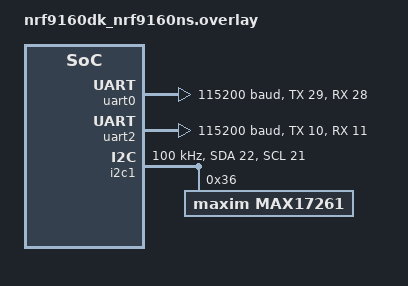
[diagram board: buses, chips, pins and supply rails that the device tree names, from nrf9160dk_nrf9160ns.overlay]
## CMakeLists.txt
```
#
# Copyright (c) 2019 Nordic Semiconductor
#
# SPDX-License-Identifier: LicenseRef-Nordic-5-Clause
#

cmake_minimum_required(VERSION 3.20.0)

find_package(Zephyr REQUIRED HINTS $ENV{ZEPHYR_BASE})
project(serial_lte_modem)

# NORDIC SDK APP START
target_sources(app PRIVATE src/main.c)
target_sources(app PRIVATE src/slm_util.c)
target_sources(app PRIVATE src/slm_settings.c)
target_sources(app PRIVATE src/slm_at_host.c)
target_sources(app PRIVATE src/slm_at_commands.c)
target_sources(app PRIVATE src/slm_at_socket.c)
target_sources(app PRIVATE src/slm_at_tcp_proxy.c)
target_sources(app PRIVATE src/slm_at_udp_proxy.c)
target_sources(app PRIVATE src/slm_at_icmp.c)
target_sources(app PRIVATE src/slm_at_fota.c)
# NORDIC SDK APP END
target_sources_ifdef(CONFIG_SLM_SMS app PRIVATE src/slm_at_sms.c)
target_sources_ifdef(CONFIG_SLM_NATIVE_TLS app PRIVATE src/slm_native_tls.c)
target_sources_ifdef(CONFIG_SLM_NATIVE_TLS app PRIVATE src/slm_at_cmng.c)
target_sources_ifdef(CONFIG_SLM_NATIVE_TLS_PS app PRIVATE src/slm_native_tls_ps.c)
target_sources_ifdef(CONFIG_SLM_NATIVE_TLS_PSA app PRIVATE src/slm_native_tls_ps.c)

add_subdirectory_ifdef(CONFIG_SLM_GNSS src/gnss)
add_subdirectory_ifdef(CONFIG_SLM_FTPC src/ftp_c)
add_subdirectory_ifdef(CONFIG_SLM_MQTTC src/mqtt_c)
add_subdirectory_ifdef(CONFIG_SLM_HTTPC src/http_c)
add_subdirectory_ifdef(CONFIG_SLM_TWI src/twi)
add_subdirectory_ifdef(CONFIG_SLM_GPIO src/gpio)
add_subdirectory_ifdef(CONFIG_SLM_NRF52_DFU src/dfu)
target_include_directories(app PRIVATE
  $<TARGET_PROPERTY:tfm,TFM_BINARY_DIR>/install/interface/include
)

zephyr_include_directories(src)
#set_property(TARGET zephyr_property_target
#             APPEND PROPERTY TFM_CMAKE_OPTIONS
#            -DPLATFORM_DEFAULT_ATTEST_HAL=OFF
#            -DPLATFORM_DEFAULT_CRYPTO_KEYS=OFF
#            -DPLATFORM_DEFAULT_ROTPK=OFF
#            -DPLATFORM_DEFAULT_IAK=OFF
#            -DPLATFORM_DEFAULT_NV_SEED=OFF
#            -DPLATFORM_DEFAULT_OTP=OFF
#            -DPLATFORM_DEFAULT_OTP_WRITEABLE=OFF
#            -DPLATFORM_DEFAULT_PROVISIONING=OFF
#            -DTFM_DUMMY_PROVISIONING=OFF
#            -DCRYPTO_NV_SEED=OFF
#            -DPLATFORM_NV_COUNTER_MODULE_DISABLED=TRUE
#            -DPLATFORM_DEFAULT_NV_COUNTERS=OFF
#)

#if (CONFIG_SLM_NATIVE_TLS_PSA)
#      add_overlay_config(
#        app
#        ${NRF_DIR}/samples/spm/spm_ns_handler_from_spm_fault.conf
#        )
#
#      add_overlay_dts(
#        mcuboot
#        ${NRF_DIR}/samples/spm/spm_uart.overlay
#      )
# endif()
```

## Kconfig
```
#
# Copyright (c) 2019 Nordic Semiconductor
#
# SPDX-License-Identifier: LicenseRef-Nordic-5-Clause
#

source "Kconfig.zephyr"

menu "Nordic Serial LTE Modem"

config SLM_CUSTOMIZED
	bool "Flag for customized functionality"
	help
	  Enable this flag to include customized logic.

config SLM_AT_MODE
	bool "Serial LTE Modem by raw AT mode"
	default y
	select AT_CMD_PARSER

config SLM_AT_MAX_PARAM
	int "Maximum number of parameters in AT command"
	default 42

config SLM_NATIVE_TLS
	bool "Use Zephyr mbedTLS"
if SLM_NATIVE_TLS

choice
	prompt "Credential storage backend"
	default SLM_NATIVE_TLS_PS if TFM_PARTITION_PROTECTED_STORAGE
	default SLM_NATIVE_TLS_MODEM
	help
		Select which mechanism is used to store credentials
	config SLM_NATIVE_TLS_MODEM
		bool "Modem storage"
		select MODEM_KEY_MGMT
		help
		  Credentials will be stored in the nRF9160 modem's storage.
		  Security tag value will be offset and CA certificate slots are
		  used. For details, see the slm_tls_map_sectag function.
	config SLM_NATIVE_TLS_PS
		bool "Protected Storage (TF-M)"
		depends on TFM_PARTITION_PROTECTED_STORAGE
		help
		  Credentials will be stored using the PSA Protected Storage
		  API. This requires that the application be built with TF-M.
	config SLM_NATIVE_TLS_PSA
		bool "Key Management (TF-M)"
		help
		  Credentials will be stored using the PSA Key management
		  API. This requires that the application be built with TF-M.
endchoice

if SLM_NATIVE_TLS_PS
config SLM_NATIVE_TLS_PS_WRITE_ONCE
	bool "Write-once credentials"
	default y
	help
		Credentials are written with the "write-once" attribute, meaning
		that they cannot be modified, replaced or deleted by firmware.
endif

endif # SLM_NATIVE_TLS

#
# external XTAL for UART
#
config SLM_EXTERNAL_XTAL
	bool "Use external XTAL for UARTE"
	default y

#
# Inter-Connect
#
config SLM_UART_HWFC_RUNTIME
	bool "Support of UART HWFC runtime configuration"
	help
		Selected if hw-flow-control is enabled in devicetree
choice
	prompt "UART for interconnect"
	help
		Selects which UART to use for interconnect:
		-  UART 0
		-  UART 2
	config SLM_CONNECT_UART_0
		bool "UART 0"
		select SLM_UART_HWFC_RUNTIME if $(dt_nodelabel_bool_prop,uart0,hw-flow-control)

	config SLM_CONNECT_UART_2
		bool "UART 2"
		select SLM_UART_HWFC_RUNTIME if $(dt_nodelabel_bool_prop,uart2,hw-flow-control)
endchoice

choice
	prompt "Termination mode"
	default SLM_CR_LF_TERMINATION
	help
		Sets the command terminator used by the serial terminal.
		Available options are:
		-  CR termination
		-  LF termination
		-  CR+LF termination
	config SLM_CR_TERMINATION
		bool "CR termination"
	config SLM_LF_TERMINATION
		bool "LF termination"
	config SLM_CR_LF_TERMINATION
		bool "CR+LF termination"
endchoice

#
# GPIO wakeup
#
config SLM_START_SLEEP
	bool "Enter sleep on startup"
	help
	  Put nRF9160 into deep sleep mode after startup.

config SLM_WAKEUP_PIN
	int "Wakeup pin"
	default -1
	help
	  Interface GPIO to wake up from sleep or exit idle

config SLM_INDICATE_PIN
	int "Indicate pin"
	default -1
	help
	  Interface GPIO pin used to indicate that data is available or an unexpected reset has occurred

config SLM_INDICATE_TIME
	int "Indication period"
	default 100
	help
	  GPIO active indication time in milliseconds. This setting specify the period length for the pin to be active

#
# Socket
#
config SLM_SOCKET_RX_MAX
	int "Maximum RX buffer size for receiving socket data"
	range 576 708
	default 576
	help
	  Default: NET_IPV4_MTU (576)
	  Maximum: MSS setting in modem (708)

#
# TCP/TLS proxy
#
config SLM_TCP_POLL_TIME
	int "Poll time-out in seconds for TCP connection"
	default 10

config SLM_UDP_POLL_TIME
	int "Poll time-out in seconds for UDP connection"
	default 10

#
# Data mode
#
config SLM_DATAMODE_TERMINATOR
	string "Pattern string to terminate data mode"
	default "+++"
	help
	  Use a pattern to terminate data mode

#
# Configurable services
#
config SLM_SMS
	bool "SMS support in SLM"
	default y
	select SMS
	help
	  Support SMS send/receive in plain text

rsource "src/gnss/Kconfig"
rsource "src/ftp_c/Kconfig"
rsource "src/mqtt_c/Kconfig"
rsource "src/http_c/Kconfig"
rsource "src/twi/Kconfig"
rsource "src/gpio/Kconfig"
rsource "src/dfu/Kconfig"

module = SLM
module-str = serial modem
source "${ZEPHYR_BASE}/subsys/logging/Kconfig.template.log_config"

endmenu
```

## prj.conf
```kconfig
#
# Copyright (c) 2020 Nordic Semiconductor ASA
#
# SPDX-License-Identifier: LicenseRef-Nordic-5-Clause
#
# General config
CONFIG_LOG=y
CONFIG_LOG_DEFAULT_LEVEL=3
CONFIG_STACK_SENTINEL=y
CONFIG_NEWLIB_LIBC=y
CONFIG_NEWLIB_LIBC_FLOAT_PRINTF=y
CONFIG_RING_BUFFER=y
CONFIG_FPU=y

# Segger RTT
CONFIG_USE_SEGGER_RTT=y
CONFIG_RTT_CONSOLE=y
CONFIG_UART_CONSOLE=n
CONFIG_LOG_BACKEND_RTT=y
CONFIG_LOG_BACKEND_UART=n

# Network
CONFIG_NETWORKING=y
CONFIG_NET_SOCKETS=y
CONFIG_NET_NATIVE=n

# Modem library
CONFIG_NRF_MODEM_LIB=y
CONFIG_NRF_MODEM_LIB_SYS_INIT=n
CONFIG_AT_CMD_SYS_INIT=n
CONFIG_AT_NOTIF_SYS_INIT=n
# Align the max FD entry to NRF_MODEM_MAX_SOCKET_COUNT(8)
CONFIG_POSIX_MAX_FDS=8
# Enable below for modem trace
#CONFIG_NRF_MODEM_LIB_TRACE_ENABLED=y

# UART interface
CONFIG_SERIAL=y
CONFIG_UART_ASYNC_API=y
CONFIG_NRFX_TIMER2=y

# Stacks and heaps
CONFIG_MAIN_STACK_SIZE=4096
CONFIG_HEAP_MEM_POOL_SIZE=16384
CONFIG_SYSTEM_WORKQUEUE_STACK_SIZE=4096

# AT_CMD
# Enable AT_CMD debug for details
#CONFIG_AT_CMD_LOG_LEVEL_DBG=y

# Device power management
CONFIG_PM_DEVICE=y

# Enable SUPL client support
#CONFIG_SUPL_CLIENT_LIB=y

# FOTA
CONFIG_HTTP_PARSER_URL=y
CONFIG_FOTA_DOWNLOAD=y
CONFIG_FOTA_DOWNLOAD_PROGRESS_EVT=y
CONFIG_DFU_TARGET=y
CONFIG_DOWNLOAD_CLIENT=y
CONFIG_DOWNLOAD_CLIENT_STACK_SIZE=4096
CONFIG_IMG_MANAGER=y
CONFIG_IMG_ERASE_PROGRESSIVELY=y

# Serial DFU
CONFIG_MCUMGR=y
CONFIG_MCUMGR_SMP_UART=y
CONFIG_UART_MCUMGR_RX_BUF_SIZE=512
CONFIG_MCUMGR_BUF_SIZE=512
## Required by the `taskstat` command.
CONFIG_THREAD_MONITOR=y
CONFIG_STATS=y
CONFIG_STATS_NAMES=y
CONFIG_MGMT_FMFU=y
CONFIG_MCUMGR_CMD_OS_MGMT=y
CONFIG_MCUMGR_CMD_STAT_MGMT=y
CONFIG_MCUMGR_CMD_IMG_MGMT=y

# FLASH
CONFIG_FLASH=y
CONFIG_FLASH_PAGE_LAYOUT=y
CONFIG_FLASH_MAP=y

#
# SLM-specific configurations
#
CONFIG_SLM_CUSTOMIZED=y
CONFIG_SLM_LOG_LEVEL_INF=y
CONFIG_SLM_EXTERNAL_XTAL=n
CONFIG_SLM_START_SLEEP=n
CONFIG_SLM_DATAMODE_HWFC=n
# Use UART_0 (when working with PC terminal)
#CONFIG_UART_0_NRF_HW_ASYNC_TIMER=2
# Use UART_2 (when working with external MCU)
CONFIG_SLM_CONNECT_UART_2=y
CONFIG_UART_2_NRF_HW_ASYNC_TIMER=2
CONFIG_UART_2_INTERRUPT_DRIVEN=n

CONFIG_SLM_UI=y
CONFIG_SLM_CUSTOMIZED_RS232=y

# TF-M
CONFIG_BOOTLOADER_MCUBOOT=y
CONFIG_BUILD_WITH_TFM=y
CONFIG_TFM_MCUBOOT_IMAGE_NUMBER=1
CONFIG_PM_PARTITION_SIZE_TFM=0x28000
CONFIG_PM_PARTITION_SIZE_TFM_EXTRA=0x16000
CONFIG_SLM_HTTPC=n
CONFIG_SLM_MQTTC=n
CONFIG_SLM_GPS=n
```

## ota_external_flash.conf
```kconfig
CONFIG_BOOTLOADER_MCUBOOT=y
# Required by SPI
CONFIG_GPIO=y
CONFIG_SPI=y
CONFIG_SPI_NOR=y
CONFIG_SPI_NOR_SFDP_DEVICETREE=y
CONFIG_MULTITHREADING=y
CONFIG_FLASH=y
CONFIG_SPI_NOR_FLASH_LAYOUT_PAGE_SIZE=4096
CONFIG_IMG_MANAGER=y
CONFIG_IMG_ERASE_PROGRESSIVELY=y
CONFIG_PM_EXTERNAL_FLASH_MCUBOOT_SECONDARY=y
CONFIG_PM_OVERRIDE_EXTERNAL_DRIVER_CHECK=y
```

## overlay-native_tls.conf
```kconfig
# To build serial LTE modem native TLS socket support
# add the following to your west build command:
#       -DOVERLAY_CONFIG=overlay-native_tls.conf
#

# TLS configuration
CONFIG_SLM_NATIVE_TLS=y
CONFIG_NORDIC_SECURITY_BACKEND=y
CONFIG_NET_SOCKETS_SOCKOPT_TLS=y
CONFIG_NET_SOCKETS_TLS_MAX_CONTEXTS=2
CONFIG_NET_SOCKETS_TLS_SET_MAX_FRAGMENT_LENGTH=y
# Increase extra FD entry for TLS contexts(2)
CONFIG_POSIX_MAX_FDS=10
# Enable Socket Logging for debug
#CONFIG_NET_LOG=y
#CONFIG_NET_SOCKETS_LOG_LEVEL_DBG=y

CONFIG_MBEDTLS=y
CONFIG_MBEDTLS_TLS_LIBRARY=y
CONFIG_MBEDTLS_ENABLE_HEAP=y

# If larger TLS buffer is required for large CA chain,
# increase CONFIG_MBEDTLS_SSL_IN_CONTENT_LEN and
# CONFIG_MBEDTLS_SSL_OUT_CONTENT_LEN to 4096
# and CONFIG_MBEDTLS_HEAP_SIZE to 32768
CONFIG_MBEDTLS_SSL_IN_CONTENT_LEN=5120
CONFIG_MBEDTLS_SSL_OUT_CONTENT_LEN=4096
CONFIG_MBEDTLS_HEAP_SIZE=36864
CONFIG_MBEDTLS_SSL_SERVER_NAME_INDICATION=y

#Cipher Suite disable
CONFIG_MBEDTLS_CTR_DRBG_C=n
CONFIG_MBEDTLS_CHACHA20_C=n
CONFIG_MBEDTLS_POLY1305_C=n
CONFIG_MBEDTLS_SHA1_C=n
CONFIG_MBEDTLS_DHM_C=n
CONFIG_MBEDTLS_CMAC_C=n
CONFIG_MBEDTLS_CIPHER_MODE_CTR=n
CONFIG_MBEDTLS_CIPHER_MODE_CFB=n
CONFIG_MBEDTLS_CIPHER_MODE_OFB=n
CONFIG_MBEDTLS_KEY_EXCHANGE_DHE_PSK_ENABLED=n
CONFIG_MBEDTLS_KEY_EXCHANGE_DHE_RSA_ENABLED=n

#Cipher Suite enable
CONFIG_MBEDTLS_ECDSA_DETERMINISTIC=y
CONFIG_MBEDTLS_SHA512_C=y
CONFIG_MBEDTLS_ECDH_C=y
CONFIG_MBEDTLS_SSL_SRV_C=y
CONFIG_MBEDTLS_AES_C=y
CONFIG_MBEDTLS_CCM_C=y
CONFIG_MBEDTLS_PKCS1_V15=y

# TF-M
# TFM configuration
CONFIG_BUILD_WITH_TFM=y
CONFIG_TFM_PROFILE_TYPE_NOT_SET=y
CONFIG_SLM_NATIVE_TLS_PSA=y
CONFIG_SPI=y
CONFIG_SPI_NOR=y
CONFIG_SPI_NOR_CS_WAIT_DELAY=5
CONFIG_SPI_NOR_SFDP_DEVICETREE=y
CONFIG_FLASH=y
CONFIG_SPI_NOR_FLASH_LAYOUT_PAGE_SIZE=4096

#CONFIG_PM_PARTITION_SIZE_TFM=0x20000
#CONFIG_TFM_PROFILE_TYPE_NOT_SET=y
#CONFIG_TFM_PROFILE_TYPE_SMALL=y
# CONFIG_TFM_PROFILE_TYPE_SMALL is not set
# CONFIG_TFM_PROFILE_TYPE_MEDIUM is not set
# CONFIG_TFM_PROFILE_TYPE_LARGE is not set

# # MbedTLS and security
# CONFIG_MBEDTLS_X509_LIBRARY=y
# CONFIG_MBEDTLS_PKCS1_V15=y
# CONFIG_NRF_SECURITY_ADVANCED=y
# CONFIG_NORDIC_SECURITY_BACKEND=y
# CONFIG_PSA_WANT_ALG_SHA_1=y
# CONFIG_PSA_WANT_ALG_RSA_PKCS1V15_CRYPT=y
# CONFIG_PSA_WANT_ALG_RSA_PKCS1V15_SIGN=y
```

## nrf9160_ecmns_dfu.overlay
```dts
&uart0 {
	current-speed = <1000000>;
	tx-pin = <11>;
	rx-pin = <10>;
};

&uart2 {
		compatible = "nordic,nrf-uarte";
		current-speed = <19200>;
		status = "okay";
		tx-pin = <11>;
		rx-pin = <10>;
		rts-pin = <12>;
		cts-pin = <7>;
		hw-flow-control;
};
```

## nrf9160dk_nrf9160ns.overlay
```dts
&uart0 {
	status = "okay";
	current-speed = <115200>;
	tx-pin = <29>;
	rx-pin = <28>;
	/delete-property/ rts-pin;
	/delete-property/ cts-pin;
};

&uart2 {
	compatible = "nordic,nrf-uarte";
	current-speed = <115200>;
	status = "okay";
	tx-pin = <10>;
	rx-pin = <11>;
	rts-pin = <12>;
	cts-pin = <13>;
	hw-flow-control;
};

&i2c2 {
	status = "disabled";
};

&i2c1 {
	compatible = "nordic,nrf-twim";
	status = "okay";
	sda-pin = <22>;
	scl-pin = <21>;

	clock-frequency = <I2C_BITRATE_STANDARD>;

	maxl7261@36 {
		compatible = "maxim,max17261";
		reg = <0x36>;
		label = "MAX17261";
	};
};

&uart1 {
	status = "disabled";
};
```

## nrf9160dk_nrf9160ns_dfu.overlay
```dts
&uart0 {
	current-speed = <1000000>;
	tx-pin = <10>;
	rx-pin = <11>;
};

&uart2 {
	compatible = "nordic,nrf-uarte";
	current-speed = <115200>;
	status = "okay";
	tx-pin = <10>;
	rx-pin = <11>;
	rts-pin = <12>;
	cts-pin = <13>;
	hw-flow-control;
};

&i2c2 {
	status = "disabled";
};
```

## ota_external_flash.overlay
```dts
/ {
    	chosen {
    		nordic,pm-ext-flash = &mx25r64;
    	};
};
```

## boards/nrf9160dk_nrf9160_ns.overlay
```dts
/*
 * Copyright (c) 2021 Nordic Semiconductor ASA
 *
 * SPDX-License-Identifier: LicenseRef-Nordic-5-Clause
 */
 / {
	chosen {
		nordic,pm-ext-flash = &mx25r64;
	};
};

&uart2 {
	compatible = "nordic,nrf-uarte";
	current-speed = <115200>;
	status = "disabled";
	hw-flow-control;

	pinctrl-0 = <&uart2_default_alt>;
	pinctrl-1 = <&uart2_sleep_alt>;
	pinctrl-names = "default", "sleep";
};

&i2c2 {
	status = "disabled";
};

&pinctrl {
	uart2_default_alt: uart2_default_alt {
		group1 {
			psels = <NRF_PSEL(UART_TX, 0, 10)>,
				<NRF_PSEL(UART_RX, 0, 11)>,
				<NRF_PSEL(UART_RTS, 0, 12)>,
				<NRF_PSEL(UART_CTS, 0, 13)>;
		};
	};

	uart2_sleep_alt: uart2_sleep_alt {
		group1 {
			psels = <NRF_PSEL(UART_TX, 0, 10)>,
				<NRF_PSEL(UART_RX, 0, 11)>,
				<NRF_PSEL(UART_RTS, 0, 12)>,
				<NRF_PSEL(UART_CTS, 0, 13)>;
			low-power-enable;
		};
	};
};
```

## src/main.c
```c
/*
 * Copyright (c) 2019 Nordic Semiconductor ASA
 *
 * SPDX-License-Identifier: LicenseRef-Nordic-5-Clause
 */
#include <logging/log.h>
#include <logging/log_ctrl.h>

#include <zephyr.h>
#include <stdio.h>
#include <drivers/uart.h>
#include <drivers/gpio.h>
#include <string.h>
#include <nrf_modem.h>
#include <hal/nrf_gpio.h>
#include <hal/nrf_power.h>
#include <hal/nrf_regulators.h>
#include <hal/nrf_uarte.h>
#include <modem/nrf_modem_lib.h>
#include <modem/at_notif.h>
#include <dfu/mcuboot.h>
#include <dfu/dfu_target.h>
#include <sys/reboot.h>
#include <drivers/clock_control.h>
#include <drivers/clock_control/nrf_clock_control.h>
#include <mgmt/fmfu_mgmt.h>
#include <mgmt/fmfu_mgmt_stat.h>
#include "os_mgmt/os_mgmt.h"
#include "img_mgmt/img_mgmt.h"
#include "slm_at_host.h"
#include "slm_at_fota.h"

LOG_MODULE_REGISTER(app, CONFIG_SLM_LOG_LEVEL);

#define SLM_DFU_STATUS          0xBC  /* Flag to be saved in GPREGRET[0]*/
#define BUTTONLESS_DFU                /* Flag to support buttonless DFU */

#define SLM_WQ_STACK_SIZE       KB(2)
#define SLM_WQ_PRIORITY         K_LOWEST_APPLICATION_THREAD_PRIO
static K_THREAD_STACK_DEFINE(slm_wq_stack_area, SLM_WQ_STACK_SIZE);

static const struct device *gpio_dev;
static struct gpio_callback gpio_cb;
static struct k_work exit_idle_work;
static bool full_idle_mode;

/* global variable used across different files */
struct k_work_q slm_work_q;

/* global variable defined in different files */
extern uint8_t fota_type;
extern uint8_t fota_stage;
extern uint8_t fota_status;
extern int32_t fota_info;

/* global functions defined in different files */
int poweron_uart(bool sync_str);
int slm_settings_init(void);
int slm_setting_fota_save(void);

/**@brief Recoverable modem library error. */
void nrf_modem_recoverable_error_handler(uint32_t err)
{
	LOG_ERR("Modem library recoverable error: %u", err);
}

static void exit_idle(struct k_work *work)
{
	int err;

	LOG_INF("Exit idle, full mode: %d", full_idle_mode);
	(void)gpio_pin_interrupt_configure(gpio_dev, CONFIG_SLM_INTERFACE_PIN,
				     GPIO_INT_DISABLE);
	gpio_remove_callback(gpio_dev, &gpio_cb);
	/* Do the same as nrf_gpio_cfg_default() */
	(void)gpio_pin_configure(gpio_dev, CONFIG_SLM_INTERFACE_PIN, GPIO_INPUT);

	if (full_idle_mode) {
		/* Restart SLM services */
		err = slm_at_host_init();
		if (err) {
			LOG_ERR("Failed to init at_host: %d", err);
		}
	} else {
		/* Power on UART only */
		err = poweron_uart(true);
		if (err) {
			LOG_ERR("Failed to wake up uart: %d", err);
		}
	}
}

static void gpio_callback(const struct device *dev,
		     struct gpio_callback *gpio_cb, uint32_t pins)
{
	k_work_submit_to_queue(&slm_work_q, &exit_idle_work);
}

void enter_idle(bool full_idle)
{
	int err;

	gpio_dev = device_get_binding(DT_LABEL(DT_NODELABEL(gpio0)));
	if (gpio_dev == NULL) {
		LOG_ERR("GPIO_0 bind error");
		return;
	}
	err = gpio_pin_configure(gpio_dev, CONFIG_SLM_INTERFACE_PIN,
				GPIO_INPUT | GPIO_PULL_UP);
	if (err) {
		LOG_ERR("GPIO_0 config error: %d", err);
		return;
	}
	gpio_init_callback(&gpio_cb, gpio_callback,
			BIT(CONFIG_SLM_INTERFACE_PIN));
	err = gpio_add_callback(gpio_dev, &gpio_cb);
	if (err) {
		LOG_ERR("GPIO_0 add callback error: %d", err);
		return;
	}
	err = gpio_pin_interrupt_configure(gpio_dev, CONFIG_SLM_INTERFACE_PIN,
					   GPIO_INT_LEVEL_LOW);
	if (err) {
		LOG_ERR("GPIO_0 enable callback error: %d", err);
		return;
	}

	full_idle_mode = full_idle;
}

void enter_sleep(void)
{
	//nrf_modem_lib_shutdown();

	/*
	 * Due to errata 4, Always configure PIN_CNF[n].INPUT before PIN_CNF[n].SENSE.
	 */
	nrf_gpio_cfg_input(CONFIG_SLM_INTERFACE_PIN,
		NRF_GPIO_PIN_PULLUP);
	nrf_gpio_cfg_sense_set(CONFIG_SLM_INTERFACE_PIN,
		NRF_GPIO_PIN_SENSE_LOW);

	nrf_regulators_system_off(NRF_REGULATORS_NS);
}

void enter_dfu(void)
{
	//nrf_modem_lib_shutdown();

	nrf_power_gpregret_set(NRF_POWER_NS, SLM_DFU_STATUS);
	sys_reboot(SYS_REBOOT_COLD);
}

void handle_nrf_modem_lib_init_ret(int ret)
{
	/* Handle return values relating to modem firmware update */
	switch (ret) {
	case 0:
		return; /* Initialization successful, no action required. */
	case MODEM_DFU_RESULT_OK:
		LOG_INF("MODEM UPDATE OK. Will run new firmware");
		fota_stage = FOTA_STAGE_COMPLETE;
		fota_status = FOTA_STATUS_OK;
		fota_info = 0;
		break;
	case MODEM_DFU_RESULT_UUID_ERROR:
	case MODEM_DFU_RESULT_AUTH_ERROR:
		LOG_ERR("MODEM UPDATE ERROR %d. Will run old firmware", ret);
		fota_status = FOTA_STATUS_ERROR;
		fota_info = ret;
		break;
	case MODEM_DFU_RESULT_HARDWARE_ERROR:
	case MODEM_DFU_RESULT_INTERNAL_ERROR:
		LOG_ERR("MODEM UPDATE FATAL ERROR %d. Modem failiure", ret);
		fota_status = FOTA_STATUS_ERROR;
		fota_info = ret;
		break;
	default:
		/* All non-zero return codes other than DFU result codes are
		 * considered irrecoverable and a reboot is needed.
		 */
		LOG_ERR("nRF modem lib initialization failed, error: %d", ret);
		fota_status = FOTA_STATUS_ERROR;
		fota_info = ret;
		break;
	}

	slm_setting_fota_save();
	LOG_WRN("Rebooting...");
	LOG_PANIC();
	sys_reboot(SYS_REBOOT_COLD);
}

void start_execute(void)
{
	int err;
#if defined(CONFIG_SLM_EXTERNAL_XTAL)
	struct onoff_manager *clk_mgr;
	struct onoff_client cli = {};
#endif

	LOG_INF("Serial LTE Modem");

#if defined(CONFIG_SLM_EXTERNAL_XTAL)
	/* request external XTAL for UART */
	clk_mgr = z_nrf_clock_control_get_onoff(CLOCK_CONTROL_NRF_SUBSYS_HF);
	sys_notify_init_spinwait(&cli.notify);
	err = onoff_request(clk_mgr, &cli);
	if (err) {
		LOG_ERR("Clock request failed: %d", err);
		return;
	}
#endif

	/* Init and load settings */
	err = slm_settings_init();
	if (err) {
		LOG_ERR("Failed to init slm settings: %d", err);
		return;
	}

	/* Modem Post-FOTA handling */
	err = nrf_modem_lib_init(NORMAL_MODE);
	handle_nrf_modem_lib_init_ret(err);

	/* Init at_cmd and at_notify lib */
	err = at_cmd_init();
	if (err) {
		LOG_ERR("Failed to init at cmd: %d", err);
		return;
	}
	err = at_notif_init();
	if (err) {
		LOG_ERR("Failed to init at notify: %d", err);
		return;
	}

	if (fota_type == DFU_TARGET_IMAGE_TYPE_MCUBOOT) {
		/* All initializations were successful mark image as working so that we
		 * will not revert upon reboot.
		 */
		err = boot_write_img_confirmed();
		if (fota_stage != FOTA_STAGE_INIT) {
			if (err) {
				fota_status = FOTA_STATUS_ERROR;
				fota_info = err;
			} else {
				fota_stage = FOTA_STAGE_COMPLETE;
				fota_status = FOTA_STATUS_OK;
				fota_info = 0;
			}
		}
	}

	err = slm_at_host_init();
	if (err) {
		LOG_ERR("Failed to init at_host: %d", err);
		return;
	}

	k_work_queue_start(&slm_work_q, slm_wq_stack_area,
			   K_THREAD_STACK_SIZEOF(slm_wq_stack_area),
			   SLM_WQ_PRIORITY, NULL);
	k_work_init(&exit_idle_work, exit_idle);
}

void start_dfu_execute(void)
{
	int err;

	/* Initialize modem in DFU mode */
	err = nrf_modem_lib_init(FULL_DFU_MODE);
	if (err) {
		LOG_ERR("Error in modem lib init: %d", err);
		return;
	}

	/* Register SMP Communication stats */
	fmfu_mgmt_stat_init();
	/* Registers the OS management command handler group */
	os_mgmt_register_group();
	/* Registers the image management command handler group */
	img_mgmt_register_group();
	/* Initialize MCUMgr handlers for full modem update */
	err = fmfu_mgmt_init();
	if (err) {
		LOG_ERR("Error in fmfu init: %d", err);
		return;
	}
#if MCUMGR_CONFIRM_IMAGE
	/** Need to keep in DFU mode if mcumgr would test then confirm image,
	 *  Which means two Reset by mcumgr to boot back to SLM mode
	 */
	if (boot_is_img_confirmed()) {
		LOG_INF("Current image confirmed");
		nrf_power_gpregret_set(NRF_POWER_NS, 0x00);
	} else {
		LOG_INF("Current image not confirmed yet");
	}
#else
	/** Exit DFU mode directly if mcumgr would confirm image only,
	 *  Which means one final Reset by mcumgr to boot back to SLM mode
	 */
	nrf_power_gpregret_set(NRF_POWER_NS, 0x00);
#endif
	LOG_INF("Enter DFU mode");
}

#if defined(CONFIG_SLM_START_SLEEP)
int main(void)
{
	uint32_t rr = nrf_power_resetreas_get(NRF_POWER_NS);
	uint8_t gp = nrf_power_gpregret_get(NRF_POWER_NS);

	LOG_DBG("RR: 0x%08x", rr);
	if (rr & NRF_POWER_RESETREAS_OFF_MASK) {
		nrf_power_resetreas_clear(NRF_POWER_NS, 0x70017);
		if (gp == SLM_DFU_STATUS) {
			nrf_uarte_disable(NRF_UARTE2);
			start_dfu_execute();
		} else {
			nrf_uarte_disable(NRF_UARTE0);
			nrf_uarte_enable(NRF_UARTE2);
			start_execute();
		}
	} else {
		LOG_INF("Sleep");
		enter_sleep();
	}

	return 0;
}
#else
int main(void)
{
#if defined(BUTTONLESS_DFU)
	uint8_t gp;

	gp = nrf_power_gpregret_get(NRF_POWER_NS);
	LOG_INF("GP: 0x%02x", gp);
	if (gp == SLM_DFU_STATUS) {
		nrf_uarte_disable(NRF_UARTE2);
		start_dfu_execute();
	} else {
		nrf_uarte_disable(NRF_UARTE0);
		nrf_uarte_enable(NRF_UARTE2);
		start_execute();
	}
#else
#define DFU_PIN 6
	int run_dfu;

	gpio_dev = device_get_binding(DT_LABEL(DT_NODELABEL(gpio0)));
	gpio_pin_configure(gpio_dev, DFU_PIN, GPIO_INPUT | GPIO_PULL_UP);
	k_sleep(K_MSEC(100));
	run_dfu = gpio_pin_get(gpio_dev, DFU_PIN);
	LOG_INF("run_slm: %d", run_dfu);
	if (run_dfu == 0) {
		nrf_uarte_disable(NRF_UARTE2);
		start_dfu_execute();
	} else {
		nrf_uarte_disable(NRF_UARTE0);
		nrf_uarte_enable(NRF_UARTE2);
		start_execute();
	}
#endif
	return 0;
}
#endif	/* CONFIG_SLM_GPIO_WAKEUP */
```

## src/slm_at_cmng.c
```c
/*
 * Copyright (c) 2020 Nordic Semiconductor ASA
 *
 * SPDX-License-Identifier: LicenseRef-Nordic-5-Clause
 */
#include <zephyr/logging/log.h>
#include <zephyr/kernel.h>
#include <stdio.h>
#include <string.h>
#include <zephyr/net/socket.h>
#include <modem/modem_info.h>
#include <modem/modem_key_mgmt.h>
#include "slm_util.h"
#include "slm_native_tls.h"
#include "slm_at_host.h"
#include "slm_at_cmng.h"
#include "slm_native_tls_ps.h"

LOG_MODULE_REGISTER(slm_cmng, CONFIG_SLM_LOG_LEVEL);

/**@brief List of supported opcode */
enum slm_cmng_opcode {
	AT_CMNG_OP_WRITE,
	AT_CMNG_OP_LIST,
	AT_CMNG_OP_READ,
	AT_CMNG_OP_DELETE
};

/**@brief List of supported type */
enum slm_cmng_type {
	AT_CMNG_TYPE_CA_CERT,
	AT_CMNG_TYPE_CERT,
	AT_CMNG_TYPE_PRIV,
	AT_CMNG_TYPE_PSK,
	AT_CMNG_TYPE_PSK_ID,
	AT_CMNG_TYPE_ENDORSEMENT_KEY = 8,
	AT_CMNG_TYPE_NORDIC_ROOT_CA = 10,
	AT_CMNG_TYPE_NORDIC_BASE_PUBKEY = 11,
};

/* global variable defined in different files */
extern struct at_param_list at_param_list;
extern char rsp_buf[SLM_AT_CMD_RESPONSE_MAX_LEN];

/**@brief handle AT#XCMNG commands
 *  AT#XCMNG=<opcode>[,<sec_tag>[,<type>[,<content>]]]
 *  AT#XCMNG? READ command not supported
 *  AT#XCMNG=? READ command not supported
 */
int handle_at_xcmng(enum at_cmd_type cmd_type)
{
	int err = -EINVAL;
	uint16_t op, type;
	nrf_sec_tag_t sec_tag;
	uint8_t *content;
	size_t len = SLM_AT_CMD_RESPONSE_MAX_LEN;

	switch (cmd_type) {
	case AT_CMD_TYPE_SET_COMMAND:
		if (at_params_valid_count_get(&at_param_list) < 2) {
			LOG_ERR("Parameter missed");
			return -EINVAL;
		}
		err = at_params_unsigned_short_get(&at_param_list, 1, &op);
		if (err < 0) {
			LOG_ERR("Fail to get op parameter: %d", err);
			return err;
		}
		if (op > AT_CMNG_OP_DELETE) {
			LOG_ERR("Wrong XCMNG operation: %d", op);
			return -EPERM;
		}
		if (op == AT_CMNG_OP_LIST) {
		#if defined(CONFIG_SLM_NATIVE_TLS_PS)
			slm_tls_tbl_dump();
			return 0;
		#else
			/* Currently not support list command */
			LOG_ERR("XCMNG List is not supported");
			return -EPERM;
		#endif
		}
		if (at_params_valid_count_get(&at_param_list) < 4) {
			/* READ, WRITE, DELETE requires sec_tag and type */
			LOG_ERR("Parameter missed");
			return -EINVAL;
		}
		err = at_params_unsigned_int_get(&at_param_list, 2, &sec_tag);
		if (err < 0) {
			LOG_ERR("Fail to get sec_tag parameter: %d", err);
			return err;
		};
		if (sec_tag > MAX_SLM_SEC_TAG) {
			LOG_ERR("Invalid security tag: %d", sec_tag);
			return -EINVAL;
		}
		err = at_params_unsigned_short_get(&at_param_list, 3, &type);
		if (err < 0) {
			LOG_ERR("Fail to get type parameter: %d", err);
			return err;
		};
		if (op == AT_CMNG_OP_WRITE) {
			if (at_params_valid_count_get(&at_param_list) < 5) {
				/* WRITE requires sec_tag, type and content */
				LOG_ERR("Parameter missed");
				return -EINVAL;
			}
			content = k_malloc(SLM_AT_CMD_RESPONSE_MAX_LEN);
			err = util_string_get(&at_param_list, 4, content,
						   &len);
			if (err != 0) {
				LOG_ERR("Failed to get content");
				k_free(content);
				return err;
			}
			err = slm_tls_storage_set(sec_tag, type, content, len);
			if (err != 0) {
#if defined(CONFIG_SLM_NATIVE_TLS_PS)
				LOG_ERR("FAILED! slm_tls_ps_set() = %d", err);
#else
				LOG_ERR("FAILED! modem_key_mgmt_write() = %d", err);
#endif
			}
			k_free(content);
		} else if (op == AT_CMNG_OP_READ) {
			if (type == AT_CMNG_TYPE_CERT ||
			   type == AT_CMNG_TYPE_PRIV ||
			   type == AT_CMNG_TYPE_PSK ||
			   type == AT_CMNG_TYPE_NORDIC_ROOT_CA) {
				/* Not supported */
				LOG_ERR("Not support READ for type: %d", type);
				return -EPERM;
			}
			content = k_malloc(SLM_AT_CMD_RESPONSE_MAX_LEN);
			err = slm_tls_storage_get(sec_tag, type, content,
					SLM_AT_CMD_RESPONSE_MAX_LEN,
					&len);
			if (err != 0) {
#if defined(CONFIG_SLM_NATIVE_TLS_PS)
				LOG_ERR("FAILED! slm_tls_ps_get() = %d", err);
#else
				LOG_ERR("FAILED! modem_key_mgmt_read() = %d", err);
#endif
			} else {
				*(content + len) = '\0';
				sprintf(rsp_buf, "%%CMNG: %d,%d,\"\","
					"\"%s\"\r\n", sec_tag, type, content);
				rsp_send(rsp_buf, strlen(rsp_buf));
			}
			k_free(content);
		} else if (op == AT_CMNG_OP_DELETE) {
			err = slm_tls_storage_remove(sec_tag, type);
#if defined(CONFIG_SLM_NATIVE_TLS_PS)
				LOG_ERR("FAILED! slm_tls_ps_remove() = %d", err);
#else
				LOG_ERR("FAILED! modem_key_mgmt_delete() = %d",	err);
#endif
		}
		break;
	default:
		break;
	}

	return err;
}
int handle_at_tfm_attest(enum at_cmd_type cmd_type)
{
	uint16_t op, type;
	nrf_sec_tag_t sec_tag;

	switch (cmd_type) {
	case AT_CMD_TYPE_SET_COMMAND:
		/* Get the entity attestation token (requires ~1kB stack memory!). */
		att_test();
		break;
	case AT_CMD_TYPE_TEST_COMMAND:
		break;
	case AT_CMD_TYPE_READ_COMMAND:
		break;
	default:
		break;
	}
}
int handle_at_tfm_private(enum at_cmd_type cmd_type)
{
	uint16_t op, type;
	nrf_sec_tag_t sec_tag;

	switch (cmd_type) {
	case AT_CMD_TYPE_SET_COMMAND:
		break;
	case AT_CMD_TYPE_TEST_COMMAND:
		break;
	case AT_CMD_TYPE_READ_COMMAND:
		break;
	default:
		break;
	}
}

/**@brief API to initialize CMNG AT commands handler
 */
int slm_at_cmng_init(void)
{
#if defined(CONFIG_SLM_NATIVE_TLS_PSA)
	psa_status_t status;

	status = psa_crypto_init();
	if (status != PSA_SUCCESS) {
		LOG_ERR("Crypto init failed.");
		goto err;
	}
	LOG_INF("PSA crypto init completed");
#endif
err:
	return 0;
}

/**@brief API to uninitialize CMNG AT commands handler
 */
int slm_at_cmng_uninit(void)
{
	return 0;
}
```

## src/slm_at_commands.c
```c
/*
 * Copyright (c) 2021 Nordic Semiconductor ASA
 *
 * SPDX-License-Identifier: LicenseRef-Nordic-5-Clause
 */
#include <zephyr/types.h>
#include <zephyr/sys/util.h>
#include <zephyr/kernel.h>
#include <stdio.h>
#include <ctype.h>
#include <zephyr/logging/log.h>
#include <zephyr/drivers/uart.h>
#include <string.h>
#include <zephyr/init.h>
#include <modem/at_cmd_parser.h>
#include <modem/modem_jwt.h>
#include <zephyr/sys/reboot.h>
#include "ncs_version.h"

#include "slm_util.h"
#include "slm_at_host.h"
#include "slm_at_tcp_proxy.h"
#include "slm_at_udp_proxy.h"
#include "slm_at_socket.h"
#if defined(CONFIG_SLM_NATIVE_TLS)
#include "slm_at_cmng.h"
#endif
#include "slm_at_icmp.h"
#include "slm_at_sms.h"
#include "slm_at_fota.h"
#if defined(CONFIG_SLM_GNSS)
#include "slm_at_gnss.h"
#endif
#if defined(CONFIG_SLM_FTPC)
#include "slm_at_ftp.h"
#endif
#if defined(CONFIG_SLM_MQTTC)
#include "slm_at_mqtt.h"
#endif
#if defined(CONFIG_SLM_HTTPC)
#include "slm_at_httpc.h"
#endif
#if defined(CONFIG_SLM_TWI)
#include "slm_at_twi.h"
#endif
#if defined(CONFIG_SLM_GPIO)
#include "slm_at_gpio.h"
#endif
#if defined(CONFIG_SLM_NRF52_DFU)
#include "slm_at_dfu.h"
#endif

LOG_MODULE_REGISTER(slm_at, CONFIG_SLM_LOG_LEVEL);

/* This delay is necessary for at_host to send response message in low baud rate. */
#define SLM_UART_RESPONSE_DELAY 50

/**@brief Shutdown modes. */
enum shutdown_modes {
	SHUTDOWN_MODE_INVALID,
	SHUTDOWN_MODE_SLEEP,
	SHUTDOWN_MODE_IDLE
};

/**@brief AT command handler type. */
typedef int (*slm_at_handler_t) (enum at_cmd_type);

static struct slm_work_info {
	struct k_work_delayable uart_work;
	struct k_work_delayable sleep_work;
	uint32_t data;
} slm_work;

/* global variable defined in different files */
extern struct at_param_list at_param_list;
extern char rsp_buf[SLM_AT_CMD_RESPONSE_MAX_LEN];
extern uint16_t datamode_time_limit;
extern struct uart_config slm_uart;

/* global functions defined in different files */
void enter_idle(void);
void enter_sleep(void);
int slm_uart_configure(void);
int poweroff_uart(void);
bool verify_datamode_control(uint16_t time_limit, uint16_t *time_limit_min);
extern int slm_setting_uart_save(void);

static void modem_power_off(void)
{
	int rc;
	int cfun;

	/*
	 * First check if the modem has already been put in Flight
	 * or OFF mode by the MCU
	 */
	rc = nrf_modem_at_scanf("AT+CFUN?", "+CFUN: %d", &cfun);
	if (rc != 1 || (cfun != 0 && cfun != 4)) {
	/*
	 * The LTE modem also needs to be stopped by issuing AT command
	 * through the modem API, before entering System OFF mode.
	 * Once the command is issued, one should wait for the modem
	 * to respond that it actually has stopped as there may be a
	 * delay until modem is disconnected from the network.
	 * Refer to https://infocenter.nordicsemi.com/topic/ps_nrf9160/
	 * pmu.html?cp=2_0_0_4_0_0_1#system_off_mode
	 */
		(void)nrf_modem_at_printf("AT+CFUN=0");
		k_sleep(K_SECONDS(1));
	}
}

/**@brief handle AT#XSLMVER commands
 *  #XSLMVER
 *  AT#XSLMVER? not supported
 *  AT#XSLMVER=? not supported
 */
static int handle_at_slmver(enum at_cmd_type type)
{
	int ret = -EINVAL;

	if (type == AT_CMD_TYPE_SET_COMMAND) {
#if defined(CONFIG_SLM_CUSTOMIZED)
		sprintf(rsp_buf, "\r\n#XSLMVER: %s-CUSTOMIZED\r\n",
			STRINGIFY(NCS_VERSION_STRING));
#else
		sprintf(rsp_buf, "\r\n#XSLMVER: %s\r\n",
			//
			STRINGIFY(CONFIG_MCUBOOT_IMAGE_VERSION));
#endif
		rsp_send(rsp_buf, strlen(rsp_buf));
		ret = 0;
	}

	return ret;
}
static void go_sleep_wk(struct k_work *work)
{
	ARG_UNUSED(work);

	if (slm_work.data == SHUTDOWN_MODE_IDLE) {
		if (poweroff_uart() == 0) {
			enter_idle();
		} else {
			LOG_ERR("failed to power off UART");
		}
	} else if (slm_work.data == SHUTDOWN_MODE_SLEEP) {
		slm_at_host_uninit();
		modem_power_off();
		enter_sleep();
	}
}

/**@brief handle AT#XSLEEP commands
 *  AT#XSLEEP=<shutdown_mode>
 *  AT#XSLEEP? not supported
 *  AT#XSLEEP=?
 */
static int handle_at_sleep(enum at_cmd_type type)
{
	int ret = -EINVAL;

	if (type == AT_CMD_TYPE_SET_COMMAND) {
		ret = at_params_unsigned_int_get(&at_param_list, 1, &slm_work.data);
		if (ret) {
			return -EINVAL;
		}
		if (slm_work.data == SHUTDOWN_MODE_SLEEP || slm_work.data == SHUTDOWN_MODE_IDLE) {
			k_work_reschedule(&slm_work.sleep_work, K_MSEC(100));
		} else {
			ret = -EINVAL;
		}
	} else if (type == AT_CMD_TYPE_TEST_COMMAND) {
		sprintf(rsp_buf, "\r\n#XSLEEP: (%d,%d)\r\n", SHUTDOWN_MODE_SLEEP,
			SHUTDOWN_MODE_IDLE);
		rsp_send(rsp_buf, strlen(rsp_buf));
		ret = 0;
	}

	return ret;
}

/**@brief handle AT#XRESET commands
 *  AT#XRESET
 *  AT#XRESET? not supported
 *  AT#XRESET=? not supported
 */
static int handle_at_reset(enum at_cmd_type type)
{
	int ret = -EINVAL;
	char ok_str[] = "\r\nOK\r\n";

	if (type == AT_CMD_TYPE_SET_COMMAND) {
		rsp_send(ok_str, strlen(ok_str));
		k_sleep(K_MSEC(SLM_UART_RESPONSE_DELAY));
		slm_at_host_uninit();
		modem_power_off();
		sys_reboot(SYS_REBOOT_COLD);
	}

	return ret;
}

/**@brief handle AT#XUUID commands
 *  AT#XUUID
 *  AT#XUUID? not supported
 *  AT#XUUID=? not supported
 */
static int handle_at_uuid(enum at_cmd_type type)
{
	int ret;

	if (type != AT_CMD_TYPE_SET_COMMAND) {
		return -EINVAL;
	}

	struct nrf_device_uuid dev = {0};

	ret = modem_jwt_get_uuids(&dev, NULL);
	if (ret) {
		LOG_ERR("Get device UUID error: %d", ret);
	} else {
		sprintf(rsp_buf, "\r\n#XUUID: %s\r\n", dev.str);
		rsp_send(rsp_buf, strlen(rsp_buf));
	}

	return ret;
}

static void set_uart_wk(struct k_work *work)
{
	int err;

	err = slm_uart_configure();
	if (err != 0) {
		LOG_ERR("slm_uart_configure: %d", err);
		return;
	}
	err = slm_setting_uart_save();
	if (err != 0) {
		LOG_ERR("uart_config_set: %d", err);
	}
}

/**@brief handle AT#XSLMUART commands
 *  AT#XSLMUART[=<baud_rate>,<hwfc>]
 *  AT#XSLMUART?
 *  AT#XSLMUART=?
 */
static int handle_at_slmuart(enum at_cmd_type type)
{
	int ret = -EINVAL;

	if (type == AT_CMD_TYPE_SET_COMMAND) {
		uint32_t baudrate;
		uint16_t hwfc;

		ret = at_params_unsigned_int_get(&at_param_list, 1, &baudrate);

		if (ret == 0) {
			switch (baudrate) {
			case 1200:
			case 2400:
			case 4800:
			case 9600:
			case 14400:
			case 19200:
			case 38400:
			case 57600:
			case 115200:
			case 230400:
			case 460800:
			case 921600:
			case 1000000:
				slm_uart.baudrate = baudrate;
				break;
			default:
				LOG_ERR("Invalid uart baud rate provided. %d", baudrate);
				return -EINVAL;
			}
		}
#if defined(CONFIG_SLM_UART_HWFC_RUNTIME)
		ret = at_params_unsigned_short_get(&at_param_list, 2, &hwfc);
		if (ret == 0) {
			if ((hwfc != UART_CFG_FLOW_CTRL_RTS_CTS) &&
				(hwfc != UART_CFG_FLOW_CTRL_NONE)) {
				LOG_ERR("Invalid uart hwfc provided.");
				return -EINVAL;
			}
		}
#else
		hwfc = UART_CFG_FLOW_CTRL_NONE;
#endif
		slm_uart.flow_ctrl = hwfc;

		ret = k_work_reschedule(&slm_work.uart_work, K_MSEC(SLM_UART_RESPONSE_DELAY));
		if (ret > 0) {
			ret = 0;
		}
	}
	if (type == AT_CMD_TYPE_READ_COMMAND) {
		sprintf(rsp_buf, "\r\n#XSLMUART: %d,%d\r\n", slm_uart.baudrate, slm_uart.flow_ctrl);
		rsp_send(rsp_buf, strlen(rsp_buf));
		ret = 0;
	}
	if (type == AT_CMD_TYPE_TEST_COMMAND) {
#if defined(CONFIG_SLM_UART_HWFC_RUNTIME)
		sprintf(rsp_buf, "\r\n#XSLMUART: (1200,2400,4800,9600,14400,19200,38400,57600,"
				 "115200,230400,460800,921600,1000000),(0,1)\r\n");
#else
		sprintf(rsp_buf, "\r\n#XSLMUART: (1200,2400,4800,9600,14400,19200,38400,57600,"
				 "115200,230400,460800,921600,1000000)\r\n");
#endif
		rsp_send(rsp_buf, strlen(rsp_buf));
		ret = 0;
	}
	return ret;
}

/**@brief handle AT#XDATACTRL commands
 *  AT#XDATACTRL=<time_limit>
 *  AT#XDATACTRL?
 *  AT#XDATACTRL=?
 */
static int handle_at_datactrl(enum at_cmd_type cmd_type)
{
	int ret = 0;
	uint16_t time_limit, time_limit_min;

	switch (cmd_type) {
	case AT_CMD_TYPE_SET_COMMAND:
		ret = at_params_unsigned_short_get(&at_param_list, 1, &time_limit);
		if (ret) {
			return ret;
		}
		if (verify_datamode_control(time_limit, NULL)) {
			datamode_time_limit = time_limit;
		} else {
			return -EINVAL;
		}
		break;

	case AT_CMD_TYPE_READ_COMMAND:
		(void)verify_datamode_control(datamode_time_limit, &time_limit_min);
		sprintf(rsp_buf, "\r\n#XDATACTRL: %d,%d\r\n", datamode_time_limit, time_limit_min);
		rsp_send(rsp_buf, strlen(rsp_buf));
		break;

	case AT_CMD_TYPE_TEST_COMMAND:
		sprintf(rsp_buf, "\r\n#XDATACTRL=<time_limit>\r\n");
		rsp_send(rsp_buf, strlen(rsp_buf));
		break;

	default:
		break;
	}

	return ret;
}

/**@brief handle AT#XCLAC commands
 *  AT#XCLAC
 *  AT#XCLAC? not supported
 *  AT#XCLAC=? not supported
 */
int handle_at_clac(enum at_cmd_type cmd_type);

/* TCP proxy commands */
int handle_at_tcp_server(enum at_cmd_type cmd_type);
int handle_at_tcp_client(enum at_cmd_type cmd_type);
int handle_at_tcp_send(enum at_cmd_type cmd_type);
int handle_at_tcp_hangup(enum at_cmd_type cmd_type);

/* UDP proxy commands */
int handle_at_udp_server(enum at_cmd_type cmd_type);
int handle_at_udp_client(enum at_cmd_type cmd_type);
int handle_at_udp_send(enum at_cmd_type cmd_type);

/* Socket-type TCPIP commands */
int handle_at_socket(enum at_cmd_type cmd_type);
int handle_at_secure_socket(enum at_cmd_type cmd_type);
int handle_at_socket_select(enum at_cmd_type cmd_type);
int handle_at_socketopt(enum at_cmd_type cmd_type);
int handle_at_secure_socketopt(enum at_cmd_type cmd_type);
int handle_at_bind(enum at_cmd_type cmd_type);
int handle_at_connect(enum at_cmd_type cmd_type);
int handle_at_listen(enum at_cmd_type cmd_type);
int handle_at_accept(enum at_cmd_type cmd_type);
int handle_at_send(enum at_cmd_type cmd_type);
int handle_at_recv(enum at_cmd_type cmd_type);
int handle_at_sendto(enum at_cmd_type cmd_type);
int handle_at_recvfrom(enum at_cmd_type cmd_type);
int handle_at_poll(enum at_cmd_type cmd_type);
int handle_at_getaddrinfo(enum at_cmd_type cmd_type);

#if defined(CONFIG_SLM_NATIVE_TLS)
int handle_at_xcmng(enum at_cmd_type cmd_type);
#endif

/* ICMP commands */
int handle_at_icmp_ping(enum at_cmd_type cmd_type);

#if defined(CONFIG_SLM_SMS)
/* SMS commands */
int handle_at_sms(enum at_cmd_type cmd_type);
#endif

/* FOTA commands */
int handle_at_fota(enum at_cmd_type cmd_type);

#if defined(CONFIG_SLM_GNSS)
int handle_at_gps(enum at_cmd_type cmd_type);
int handle_at_nrf_cloud(enum at_cmd_type cmd_type);
int handle_at_agps(enum at_cmd_type cmd_type);
int handle_at_pgps(enum at_cmd_type cmd_type);
int handle_at_cellpos(enum at_cmd_type cmd_type);
#endif

#if defined(CONFIG_SLM_FTPC)
int handle_at_ftp(enum at_cmd_type cmd_type);
#endif

#if defined(CONFIG_SLM_MQTTC)
int handle_at_mqtt_connect(enum at_cmd_type cmd_type);
int handle_at_mqtt_publish(enum at_cmd_type cmd_type);
int handle_at_mqtt_subscribe(enum at_cmd_type cmd_type);
int handle_at_mqtt_unsubscribe(enum at_cmd_type cmd_type);
#endif

#if defined(CONFIG_SLM_HTTPC)
int handle_at_httpc_connect(enum at_cmd_type cmd_type);
int handle_at_httpc_request(enum at_cmd_type cmd_type);
#endif

#if defined(CONFIG_SLM_TWI)
int handle_at_twi_list(enum at_cmd_type cmd_type);
int handle_at_twi_write(enum at_cmd_type cmd_type);
int handle_at_twi_read(enum at_cmd_type cmd_type);
int handle_at_twi_write_read(enum at_cmd_type cmd_type);
#endif

#if defined(CONFIG_SLM_GPIO)
int handle_at_gpio_configure(enum at_cmd_type cmd_type);
int handle_at_gpio_operate(enum at_cmd_type cmd_type);
#endif

#if defined(CONFIG_SLM_NRF52_DFU)
int handle_at_dfu_get(enum at_cmd_type cmd_type);
int handle_at_dfu_run(enum at_cmd_type cmd_type);
#endif

#if defined(CONFIG_SLM_NATIVE_TLS_PSA)
int handle_at_tfm_attest(enum at_cmd_type cmd_type);
int handle_at_tfm_private(enum at_cmd_type cmd_type);
#endif
static struct slm_at_cmd {
	char *string;
	slm_at_handler_t handler;
} slm_at_cmd_list[] = {
	/* Generic commands */
	{"AT#XSLMVER", handle_at_slmver},
	{"AT#XSLEEP", handle_at_sleep},
	{"AT#XRESET", handle_at_reset},
	{"AT#XUUID", handle_at_uuid},
	{"AT#XCLAC", handle_at_clac},
	{"AT#XSLMUART", handle_at_slmuart},
	{"AT#XDATACTRL", handle_at_datactrl},

	/* TCP proxy commands */
	{"AT#XTCPSVR", handle_at_tcp_server},
	{"AT#XTCPCLI", handle_at_tcp_client},
	{"AT#XTCPSEND", handle_at_tcp_send},
	{"AT#XTCPHANGUP", handle_at_tcp_hangup},

	/* UDP proxy commands */
	{"AT#XUDPSVR", handle_at_udp_server},
	{"AT#XUDPCLI", handle_at_udp_client},
	{"AT#XUDPSEND", handle_at_udp_send},

	/* Socket-type TCPIP commands */
	{"AT#XSOCKET", handle_at_socket},
	{"AT#XSSOCKET", handle_at_secure_socket},
	{"AT#XSOCKETSELECT", handle_at_socket_select},
	{"AT#XSOCKETOPT", handle_at_socketopt},
	{"AT#XSSOCKETOPT", handle_at_secure_socketopt},
	{"AT#XBIND", handle_at_bind},
	{"AT#XCONNECT", handle_at_connect},
	{"AT#XLISTEN", handle_at_listen},
	{"AT#XACCEPT", handle_at_accept},
	{"AT#XSEND", handle_at_send},
	{"AT#XRECV", handle_at_recv},
	{"AT#XSENDTO", handle_at_sendto},
	{"AT#XRECVFROM", handle_at_recvfrom},
	{"AT#XPOLL", handle_at_poll},
	{"AT#XGETADDRINFO", handle_at_getaddrinfo},

#if defined(CONFIG_SLM_NATIVE_TLS)
	{"AT#XCMNG", handle_at_xcmng},
#endif
	/* ICMP commands */
	{"AT#XPING", handle_at_icmp_ping},

#if defined(CONFIG_SLM_SMS)
	/* SMS commands */
	{"AT#XSMS", handle_at_sms},
#endif

	/* FOTA commands */
	{"AT#XFOTA", handle_at_fota},

#if defined(CONFIG_SLM_GNSS)
	/* GNSS commands */
	{"AT#XGPS", handle_at_gps},
	{"AT#XNRFCLOUD", handle_at_nrf_cloud},
#if defined(CONFIG_SLM_AGPS)
	{"AT#XAGPS", handle_at_agps},
#endif
#if defined(CONFIG_SLM_PGPS)
	{"AT#XPGPS", handle_at_pgps},
#endif
#if defined(CONFIG_SLM_CELL_POS)
	{"AT#XCELLPOS", handle_at_cellpos},
#endif
#endif

#if defined(CONFIG_SLM_FTPC)
	/* FTP commands */
	{"AT#XFTP", handle_at_ftp},
#endif

#if defined(CONFIG_SLM_MQTTC)
	{"AT#XMQTTCON", handle_at_mqtt_connect},
	{"AT#XMQTTPUB", handle_at_mqtt_publish},
	{"AT#XMQTTSUB", handle_at_mqtt_subscribe},
	{"AT#XMQTTUNSUB", handle_at_mqtt_unsubscribe},
#endif

#if defined(CONFIG_SLM_HTTPC)
	{"AT#XHTTPCCON", handle_at_httpc_connect},
	{"AT#XHTTPCREQ", handle_at_httpc_request},
#endif

#if defined(CONFIG_SLM_TWI)
	{"AT#XTWILS", handle_at_twi_list},
	{"AT#XTWIW", handle_at_twi_write},
	{"AT#XTWIR", handle_at_twi_read},
	{"AT#XTWIWR", handle_at_twi_write_read},
#endif

#if defined(CONFIG_SLM_GPIO)
	{"AT#XGPIOCFG", handle_at_gpio_configure},
	{"AT#XGPIO", handle_at_gpio_operate},
#endif

#if defined(CONFIG_SLM_NRF52_DFU)
	{"AT#XDFUGET", handle_at_dfu_get},
	{"AT#XDFURUN", handle_at_dfu_run},
#endif
#if defined(CONFIG_SLM_NATIVE_TLS_PSA)
	{"AT#TFMATT", handle_at_tfm_attest},
	{"AT#TFMPK", handle_at_tfm_private},
#endif

};

int handle_at_clac(enum at_cmd_type cmd_type)
{
	int ret = -EINVAL;

	if (cmd_type == AT_CMD_TYPE_SET_COMMAND) {
		int total = ARRAY_SIZE(slm_at_cmd_list);

		for (int i = 0; i < total; i++) {
			sprintf(rsp_buf, "%s\r\n", slm_at_cmd_list[i].string);
			rsp_send(rsp_buf, strlen(rsp_buf));
		}
		ret = 0;
	}

	return ret;
}

int slm_at_parse(const char *at_cmd)
{
	int ret = -ENOENT;
	int total = ARRAY_SIZE(slm_at_cmd_list);

	for (int i = 0; i < total; i++) {
		if (slm_util_cmd_casecmp(at_cmd, slm_at_cmd_list[i].string)) {
			enum at_cmd_type type = at_parser_cmd_type_get(at_cmd);

			at_params_list_clear(&at_param_list);
			ret = at_parser_params_from_str(at_cmd, NULL, &at_param_list);
			if (ret) {
				LOG_ERR("Failed to parse AT command %d", ret);
				return -EINVAL;
			}
			ret = slm_at_cmd_list[i].handler(type);
			break;
		}
	}

	return ret;
}

int slm_at_init(void)
{
	int err;

	k_work_init_delayable(&slm_work.uart_work, set_uart_wk);
	k_work_init_delayable(&slm_work.sleep_work, go_sleep_wk);

	err = slm_at_tcp_proxy_init();
	if (err) {
		LOG_ERR("TCP Server could not be initialized: %d", err);
		return -EFAULT;
	}
	err = slm_at_udp_proxy_init();
	if (err) {
		LOG_ERR("UDP Server could not be initialized: %d", err);
		return -EFAULT;
	}
	err = slm_at_socket_init();
	if (err) {
		LOG_ERR("TCPIP could not be initialized: %d", err);
		return -EFAULT;
	}
#if defined(CONFIG_SLM_NATIVE_TLS)
	err = slm_at_cmng_init();
	if (err) {
		LOG_ERR("TLS could not be initialized: %d", err);
		return -EFAULT;
	}
#endif
	err = slm_at_icmp_init();
	if (err) {
		LOG_ERR("ICMP could not be initialized: %d", err);
		return -EFAULT;
	}
#if defined(CONFIG_SLM_SMS)
	err = slm_at_sms_init();
	if (err) {
		LOG_ERR("SMS could not be initialized: %d", err);
		return -EFAULT;
	}
#endif
	err = slm_at_fota_init();
	if (err) {
		LOG_ERR("FOTA could not be initialized: %d", err);
		return -EFAULT;
	}
#if defined(CONFIG_SLM_GNSS)
	err = slm_at_gnss_init();
	if (err) {
		LOG_ERR("GPS could not be initialized: %d", err);
		return -EFAULT;
	}
#endif
#if defined(CONFIG_SLM_FTPC)
	err = slm_at_ftp_init();
	if (err) {
		LOG_ERR("FTP could not be initialized: %d", err);
		return -EFAULT;
	}
#endif
#if defined(CONFIG_SLM_MQTTC)
	err = slm_at_mqtt_init();
	if (err) {
		LOG_ERR("MQTT could not be initialized: %d", err);
		return -EFAULT;
	}
#endif
#if defined(CONFIG_SLM_HTTPC)
	err = slm_at_httpc_init();
	if (err) {
		LOG_ERR("HTTP could not be initialized: %d", err);
		return -EFAULT;
	}
#endif
#if defined(CONFIG_SLM_GPIO)
	err = slm_at_gpio_init();
	if (err) {
		LOG_ERR("GPIO could not be initialized: %d", err);
		return -EFAULT;
	}
#endif
#if defined(CONFIG_SLM_TWI)
	err = slm_at_twi_init();
	if (err) {
		LOG_ERR("TWI could not be initialized: %d", err);
		return -EFAULT;
	}
#endif
#if defined(CONFIG_SLM_NRF52_DFU)
	err = slm_at_dfu_init();
	if (err) {
		LOG_ERR("DFU could not be initialized: %d", err);
		return -EFAULT;
	}
#endif

	return err;
}

void slm_at_uninit(void)
{
	int err;

	err = slm_at_tcp_proxy_uninit();
	if (err) {
		LOG_WRN("TCP Server could not be uninitialized: %d", err);
	}
	err = slm_at_udp_proxy_uninit();
	if (err) {
		LOG_WRN("UDP Server could not be uninitialized: %d", err);
	}
	err = slm_at_socket_uninit();
	if (err) {
		LOG_WRN("TCPIP could not be uninitialized: %d", err);
	}
#if defined(CONFIG_SLM_NATIVE_TLS)
	err = slm_at_cmng_uninit();
	if (err) {
		LOG_WRN("TLS could not be uninitialized: %d", err);
	}
#endif
	err = slm_at_icmp_uninit();
	if (err) {
		LOG_WRN("ICMP could not be uninitialized: %d", err);
	}
#if defined(CONFIG_SLM_SMS)
	err = slm_at_sms_uninit();
	if (err) {
		LOG_WRN("SMS could not be uninitialized: %d", err);
	}
#endif
	err = slm_at_fota_uninit();
	if (err) {
		LOG_WRN("FOTA could not be uninitialized: %d", err);
	}
#if defined(CONFIG_SLM_GNSS)
	err = slm_at_gnss_uninit();
	if (err) {
		LOG_WRN("GPS could not be uninitialized: %d", err);
	}
#endif
#if defined(CONFIG_SLM_FTPC)
	err = slm_at_ftp_uninit();
	if (err) {
		LOG_WRN("FTP could not be uninitialized: %d", err);
	}
#endif
#if defined(CONFIG_SLM_MQTTC)
	err = slm_at_mqtt_uninit();
	if (err) {
		LOG_WRN("MQTT could not be uninitialized: %d", err);
	}
#endif
#if defined(CONFIG_SLM_HTTPC)
	err = slm_at_httpc_uninit();
	if (err) {
		LOG_WRN("HTTP could not be uninitialized: %d", err);
	}
#endif
#if defined(CONFIG_SLM_TWI)
	err = slm_at_twi_uninit();
	if (err) {
		LOG_ERR("TWI could not be uninit: %d", err);
	}
#endif
#if defined(CONFIG_SLM_GPIO)
	err = slm_at_gpio_uninit();
	if (err) {
		LOG_ERR("GPIO could not be uninit: %d", err);
	}
#endif
#if defined(CONFIG_SLM_NRF52_DFU)
	err = slm_at_dfu_uninit();
	if (err) {
		LOG_ERR("DFU could not be uninitialized: %d", err);
	}
#endif
}
```
